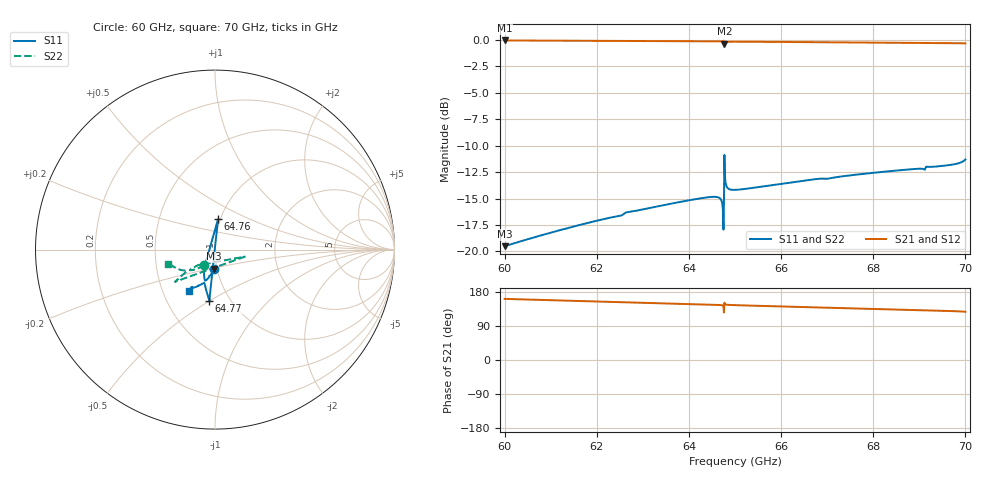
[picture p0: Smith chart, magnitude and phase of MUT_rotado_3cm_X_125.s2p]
! TOUCHSTONE file generated by CST MICROWAVE STUDIO
! Date and time: Sat Feb 17 14:30:06 2024
! Project name: MUT_rotado.cst
! Parameters = {AngX=1.25}
! Header version: 2018
! Port assignment regex: !\s*Touchstone port\s*([0-9]+)\s*=\s*(CST MWS port|CST DS port)\s*([0-9]+|Zmin|Zmax)\s*\(\"(.*)\"\)(\s*mode\s*([0-9]+))?.*
! Touchstone port assignment:
! Touchstone port 1 = CST MWS port 1 ("")
! Touchstone port 2 = CST MWS port 2 ("")
# GHz S MA R 376.7
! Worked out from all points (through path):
!   1001 points, 60 GHz to 70 GHz, reference 376.7 ohm
!   highest |S21| = -0.05 dB at 60 GHz (marker M1); lowest = -0.4 dB at 64.77 GHz (marker M2)
!   group delay of S21, straight-line fit = 9.19 ps
!   lowest |S11| = -19.5 dB at 60 GHz (marker M3), VSWR 1.24, Z = 365 - j78 ohm
!   |S11| at or under -10 dB: start of sweep to end of sweep
!   |S22| runs from -19.5 to -10.9 dB; largest |S21 - S12| = 0.00097
!   S11 on the Smith chart (normalised r, x): 60 GHz: 0.97, -0.21; 64.76 GHz: 0.98, +0.34; 64.77 GHz: 0.80, -0.50; 70 GHz: 0.68, -0.33
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60  0.1059 -92.8  0.9942 161.3  0.9942 161.3  0.1059 -124.6
61.67  0.1341 -98.1  0.9909 155.7  0.991 155.7  0.1333 -130.7
63.34  0.1637 -103.4  0.9865 150.0  0.9865 150.0  0.1637 -136.6
64.6  0.181 -107.9  0.9835 145.6  0.9835 145.6  0.181 -140.9
64.69  0.1767 -109.1  0.9843 144.9  0.9843 144.9  0.1767 -141.0
64.7  0.1752 -109.4  0.9846 144.8  0.9846 144.8  0.1752 -141.0
64.71  0.173 -109.8  0.985 144.6  0.9849 144.6  0.173 -140.9
64.73  0.1643 -111.4  0.9865 144.0  0.9864 144.0  0.1643 -140.6
64.76  0.1704 84.3  0.9854 125.5  0.9854 125.5  0.1704 -13.4
64.77  0.2861 -96.4  0.9585 151.2  0.9581 151.3  0.2861 -141.2
64.8  0.2092 -105.1  0.978 146.4  0.9779 146.5  0.2092 -142.0
64.81  0.2051 -105.7  0.9789 146.1  0.9788 146.2  0.2051 -142.0
64.82  0.2025 -106.1  0.9794 145.9  0.9793 146.0  0.2025 -142.0
64.83  0.2008 -106.4  0.9798 145.8  0.9797 145.8  0.2008 -142.0
64.86  0.1978 -106.9  0.9804 145.5  0.9803 145.5  0.1978 -142.1
65  0.1955 -108.0  0.9809 144.7  0.9807 144.8  0.1955 -142.5
66.67  0.2187 -113.7  0.9761 139.1  0.976 139.1  0.2182 -148.4
68.34  0.2394 -118.3  0.9709 133.7  0.971 133.6  0.2394 -154.3
69.08  0.2456 -120.4  0.9689 131.2  0.9688 131.2  0.2496 -157.4
69.19  0.2512 -120.9  0.9685 130.8  0.9685 130.9  0.2504 -157.6
69.73  0.2577 -122.1  0.9662 129.0  0.9662 129.0  0.2577 -160.0
70  0.2723 -122.7  0.9624 127.3  0.9621 127.3  0.2723 -162.6
